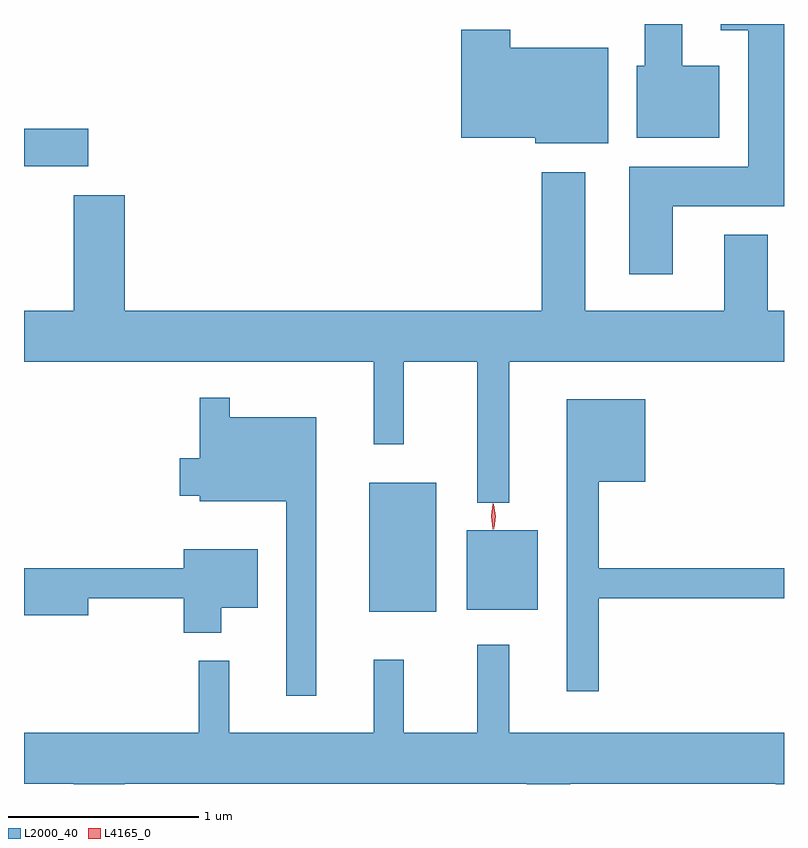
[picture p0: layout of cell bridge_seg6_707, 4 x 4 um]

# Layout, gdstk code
import gdstk
lib = gdstk.Library(unit=1e-6, precision=1e-09)
def R(c, l, rs):  # rectangles x0, y0, x1, y1
    for r in rs: c.add(gdstk.rectangle(r[:2], r[2:], *l))
def P(c, l, *ps):  # polygons
    for p in ps: c.add(gdstk.Polygon(p, *l))
L2000_40 = (2000, 40)
L4165_0 = (4165, 0)

bridge_seg6_707 = lib.new_cell('bridge_seg6_707')
R(bridge_seg6_707, L2000_40, [(516.331,1548.721,516.684,1549.399), (516.846,1548.731,517.219,1549.149), (514.515,1551.066,514.854,1551.264)])
P(bridge_seg6_707, L2000_40, [(518.174,1551.594),(517.979,1551.594),(517.979,1551.814),(517.781,1551.814),(517.781,1551.594),(517.741,1551.594),(517.741,1551.216),(518.174,1551.216)],
  [(517.929,1550.856),(518.515,1550.856),(518.515,1551.814),(518.181,1551.814),(518.181,1551.781),(518.326,1551.781),(518.326,1551.064),(517.701,1551.064),(517.701,1550.496),(517.929,1550.496)],
  [(517.589,1551.689),(517.074,1551.689),(517.074,1551.784),(516.816,1551.784),(516.816,1551.216),(517.206,1551.216),(517.206,1551.186),(517.589,1551.186)],
  [(516.356,1549.603),(516.514,1549.603),(516.514,1550.036),(516.901,1550.036),(516.901,1549.293),(517.069,1549.293),(517.069,1550.036),(518.515,1550.036),(518.515,1550.304),(518.429,1550.304),(518.429,1550.704),(518.201,1550.704),(518.201,1550.304),(517.469,1550.304),(517.469,1551.034),(517.241,1551.034),(517.241,1550.304),(515.044,1550.304),(515.044,1550.914),(514.776,1550.914),(514.776,1550.304),(514.515,1550.304),(514.515,1550.036),(516.356,1550.036)],
  [(516.054,1549.744),(515.599,1549.744),(515.599,1549.848),(515.441,1549.848),(515.441,1549.529),(515.336,1549.529),(515.336,1549.331),(515.441,1549.331),(515.441,1549.301),(515.896,1549.301),(515.896,1548.278),(516.054,1548.278)],
  [(517.539,1548.791),(518.515,1548.791),(518.515,1548.949),(517.539,1548.949),(517.539,1549.406),(517.784,1549.406),(517.784,1549.839),(517.371,1549.839),(517.371,1548.303),(517.539,1548.303)],
  [(515.554,1548.741),(515.744,1548.741),(515.744,1549.049),(515.356,1549.049),(515.356,1548.949),(514.515,1548.949),(514.515,1548.701),(514.854,1548.701),(514.854,1548.791),(515.356,1548.791),(515.356,1548.611),(515.554,1548.611)],
  [(515.044,1547.816),(517.161,1547.816),(517.161,1547.814),(517.389,1547.814),(517.389,1547.816),(518.471,1547.816),(518.471,1547.814),(518.515,1547.814),(518.515,1548.084),(517.069,1548.084),(517.069,1548.548),(516.901,1548.548),(516.901,1548.084),(516.514,1548.084),(516.514,1548.468),(516.356,1548.468),(516.356,1548.084),(515.594,1548.084),(515.594,1548.463),(515.436,1548.463),(515.436,1548.084),(514.515,1548.084),(514.515,1547.816),(514.776,1547.816),(514.776,1547.814),(515.044,1547.814)])
P(bridge_seg6_707, L4165_0, [(516.983,1549.154),(516.983,1549.154),(516.973,1549.222),(516.983,1549.29),(516.983,1549.29),(516.984,1549.29),(516.993,1549.222),(516.984,1549.154)],
  [(516.989,1549.158),(516.989,1549.159),(516.978,1549.222),(516.986,1549.287),(516.986,1549.287),(516.987,1549.287),(516.998,1549.223),(516.99,1549.159)])

lib.write_gds('bridge_seg6_707.gds')
